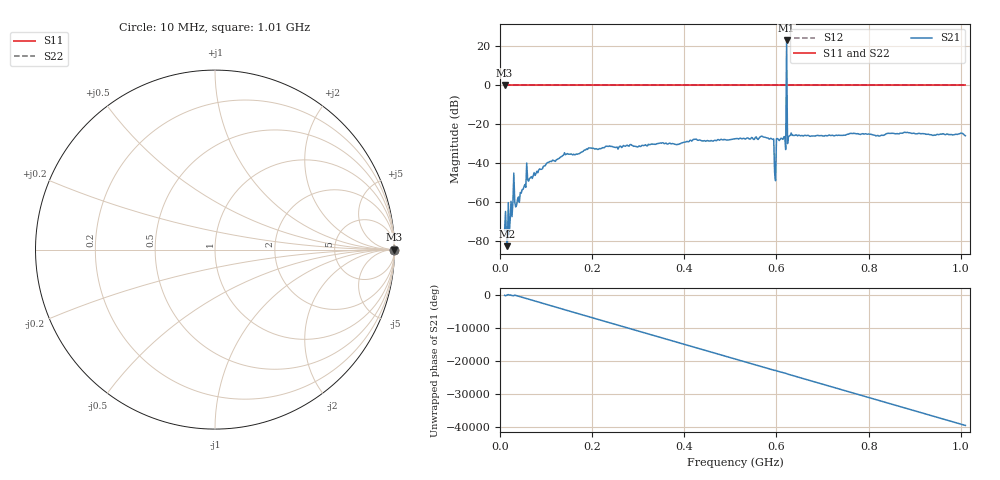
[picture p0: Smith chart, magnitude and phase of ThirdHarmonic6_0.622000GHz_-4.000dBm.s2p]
! 8/15/2025 8:27:08 PM
! C:\ANRITSUVNA\TEMP\TEMP.S2P
! CHANNEL.1
! TR.MEASUREMENT
! RAW.DATA
! RF.CORRECTION.OFF
! AVERAGING.OFF
! IF.BANDWIDTH: 5KHZ
! SWEEPTYPE:  FREQ.SWEEP(Linear)
! Reference Plane Port Info
! PORT:  PORT1  PORT2
! DISTANCE:  0  m  0  m
! TIME:  0  s  0  s
! PHASE.OFFSET:  0  deg.  0  deg.
! LOSS:  0  dB  0  dB
! REF.LOSS:  0  dB  0  dB
! REF.FREQ:  0  Hz  0  Hz
! Power Info
! POWER:  -20  dBm  -20  dBm
! EFF.POWER:  -20  dBm  -20  dBm
! SOURCE.ATTEN:  0  dB  0  dB
! TEST.ATTEN:  0  dB  0  dB
# GHZ S RI R 50.0
! FREQ.GHZ  S11RE  S11IM  S21RE  S21IM  S12RE  S12IM  S22RE  S22IM
!; PortSelection: Port_12
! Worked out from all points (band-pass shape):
!   501 points, 10 MHz to 1.01 GHz, reference 50 ohm
!   highest |S21| = 22.78 dB at 622 MHz (marker M1); lowest = -82.7 dB at 16 MHz (marker M2)
!   |S21| within 3 dB of the highest: 621.8927 MHz to 622.1135 MHz (220.7 kHz wide, 0.0355 % of centre)
!   lowest |S11| = 0.0 dB at 10 MHz (marker M3)
!   |S11| at or under -10 dB: nowhere
!   |S22| runs from 0.0 to 0.0 dB; largest |S21 - S12| = 13
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0.01  1 0  0.000119 -0.000142  1 0  1 0
0.016  1 0  5.99e-05 4.26e-05  1 0  1 0
0.024  1 0  0.000695 -0.000771  1 0  1 0
0.028  1 0  -0.000964 -4.01e-05  1 0  1 0
0.038  1 0  -0.000649 0.000969  1 0  1 0
0.062  1 0  -0.00297 -0.00166  1 0  1 0
0.142  1 0  -0.0152 -0.00587  1 0  1 0
0.178  1 0  -0.0187 -0.00419  1 0  1 0
0.344  1 0  0.0304 -0.00816  1 0  1 0
0.51  1 0  -0.0379 0.0174  1 0  1 0
0.59  1 0  -0.0409 0.0044  1 0  1 0
0.594  1 0  0.0395 0.0117  1 0  1 0
0.6  1 0  -0.0301 0.0293  1 0  1 0
0.604  1 0  0.0372 -0.0165  1 0  1 0
0.616  1 0  -0.0347 -0.0308  1 0  1 0
0.618  1 0  -0.0363 0.0304  1 0  1 0
0.622  1 0  12.03 6.715  1 0  1 0
0.626  1 0  -0.0468 0.00415  1 0  1 0
0.628  1 0  -0.00499 0.0489  1 0  1 0
0.678  1 0  -0.0267 -0.041  1 0  1 0
0.844  1 0  0.0459 0.0343  1 0  1 0
1.01  1 0  -0.0493 -0.00522  1 0  1 0
